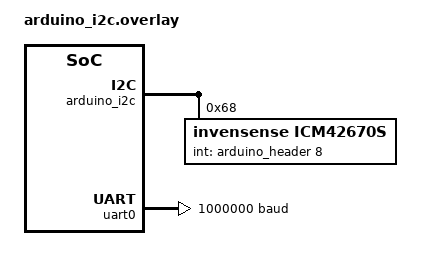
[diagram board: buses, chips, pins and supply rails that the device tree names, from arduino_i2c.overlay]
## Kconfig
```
# Copyright (c) 2020, TDK Invensense
# SPDX-License-Identifier: Apache-2.0

# Enable AML features support and choose the outputs :
# ICM42670S_AML_POINTING, Delta values for pointing 
# ICM42670S_AML_GESTURES, Orientation of the remote and detected swipes 
# ICM42670S_AML_GYR_OFFSET, Computed 3-axis raw gyroscope offsets
# ICM42670S_AML_QUATERNION, Computed W, X, Y and Z quaternion coefficients

config ICM42670S_AML
	default y

config ICM42670S_AML_POINTING
	default y
config ICM42670S_AML_GESTURES
	default n
config ICM42670S_AML_GYR_OFFSET
	default n
config ICM42670S_AML_QUATERNION
	default n

source "Kconfig.zephyr"
```

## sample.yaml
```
sample:
  name: ICM42670S Sensor AML pointing sample
tests:
  sample.sensor.icm42670S:
    build_only: true
    tags: sensors
    integration_platforms:
      - nrf52dk_nrf52832
```

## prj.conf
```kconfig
#
# Copyright (c) 2019 TDK Invensense
#
# SPDX-License-Identifier: Apache-2.0
#

CONFIG_SENSOR=y

CONFIG_LOG=y
CONFIG_LOG_PRINTK=y
CONFIG_SENSOR_LOG_LEVEL_DBG=n

# Enable FPU to link with AML library
CONFIG_FPU=y

# Floating point format support
# Selecting this increases stack size requirements slightly, but increases code size significantly.
CONFIG_CBPRINTF_FP_SUPPORT=y

# Buffer size for console. The defaults are optimized to save RAM
CONFIG_CONSOLE_SUBSYS=y
CONFIG_CONSOLE_GETCHAR=y
CONFIG_CONSOLE_GETCHAR_BUFSIZE=16
CONFIG_CONSOLE_PUTCHAR_BUFSIZE=512

# Enable AML features support
CONFIG_ICM42670S_AML=y
# Choose the AML outputs :
# ICM42670S_AML_POINTING, Delta values for pointing 
CONFIG_ICM42670S_AML_POINTING=y
# ICM42670S_AML_GESTURES, Orientation of the remote and detected swipes 
CONFIG_ICM42670S_AML_GESTURES=n
# ICM42670S_AML_GYR_OFFSET, Computed 3-axis raw gyroscope offsets
CONFIG_ICM42670S_AML_GYR_OFFSET=n
# ICM42670S_AML_QUATERNION, Computed W, X, Y and Z quaternion coefficients
CONFIG_ICM42670S_AML_QUATERNION=n
```

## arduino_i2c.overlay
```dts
/*
 * Copyright (c) 2020, TDK Invensense
 *
 * SPDX-License-Identifier: Apache-2.0
 */

/*
 * Example configuration of a ICM42670S device on an Arduino I2C bus.
 *
 * Device address 0x68 is assumed. Your device may have a different
 * address; check your device documentation if unsure.
 */
&arduino_i2c {
	status = "okay";
	icm42670S@68 {
		compatible = "invensense,icm42670S";
		reg = <0x68>;
		int-gpios = <&arduino_header 8 GPIO_ACTIVE_HIGH>; /* D2 */
		
		power-mode = "low noise";
		accel-hz = <100>;
		accel-fs = <16>;
		gyro-hz = <100>;
		gyro-fs = <2000>;
	};
};

/*
 * Increase native UART speed to report all IMU data at 100Hz.
 */
&uart0 {
	compatible = "nordic,nrf-uarte";
	status = "okay";
	current-speed = <1000000>;
};
```

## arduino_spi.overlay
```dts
/*
 * Copyright (c) 2020, TDK Invensense
 *
 * SPDX-License-Identifier: Apache-2.0
 */

/* Example configuration of a ICM42670S device on an Arduino SPI bus. */
&arduino_spi {
	status = "okay";
	cs-gpios = <&arduino_header 14 GPIO_ACTIVE_LOW>; /* D8 */
	icm42670S@0 {
		compatible = "invensense,icm42670S";
		reg = <0>;
		spi-max-frequency = <1000000>; /* conservatively set to 1MHz */
		int-gpios = <&arduino_header 8 GPIO_ACTIVE_HIGH>; /* D2 */
	};
};

/*
 * Increase native UART speed to report all IMU data at 100Hz.
 */
&uart0 {
	compatible = "nordic,nrf-uarte";
	status = "okay";
	current-speed = <1000000>;
};
```

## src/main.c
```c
/*
 * Copyright (c) 2020 TDK Invensense
 *
 * SPDX-License-Identifier: Apache-2.0
 */

#include <zephyr/kernel.h>
#include <zephyr/device.h>
#include <zephyr/devicetree.h>
#include <zephyr/drivers/sensor.h>
#include <zephyr/drivers/sensor/icm42670S.h>
#include <stdio.h>

static struct sensor_trigger data_trigger;

/* Flag set from IMU device irq handler */
static volatile int irq_from_device = 0;

/*
 * Get a device structure from a devicetree node with compatible
 * "invensense,icm42670S". (If there are multiple, just pick one.)
 */
static const struct device *get_icm42670S_device(void)
{
	const struct device *const dev = DEVICE_DT_GET_ANY(invensense_icm42670s);

	if (dev == NULL) {
		/* No such node, or the node does not have status "okay". */
		printk("\nError: no device found.\n");
		return NULL;
	}

	if (!device_is_ready(dev)) {
		printk("\nError: Device \"%s\" is not ready; "
		       "check the driver initialization logs for errors.\n",
		       dev->name);
		return NULL;
	}

	printk("Found device \"%s\", getting sensor data\n", dev->name);
	return dev;
}

#if defined(CONFIG_ICM42670S_AML_POINTING) || defined(CONFIG_ICM42670S_AML_GESTURES) ||            \
	defined(CONFIG_ICM42670S_AML_GYR_OFFSET) || defined(CONFIG_ICM42670S_AML_QUATERNION)
static const char *now_str(void)
{
	static char buf[16]; /* ...HH:MM:SS.MMM */
	uint32_t now = k_uptime_get_32();
	unsigned int ms = now % MSEC_PER_SEC;
	unsigned int s;
	unsigned int min;
	unsigned int h;

	now /= MSEC_PER_SEC;
	s = now % 60U;
	now /= 60U;
	min = now % 60U;
	now /= 60U;
	h = now;

	snprintf(buf, sizeof(buf), "%u:%02u:%02u.%03u", h, min, s, ms);
	return buf;
}
#endif

static void handle_icm42670S_drdy(const struct device *dev, const struct sensor_trigger *trig)
{
	if (trig->type == SENSOR_TRIG_DATA_READY) {
		int rc = sensor_sample_fetch_chan(dev, trig->chan);

		if (rc < 0) {
			printf("sample fetch failed: %d\n", rc);
			printf("cancelling trigger due to failure: %d\n", rc);
			(void)sensor_trigger_set(dev, trig, NULL);
			return;
		} else if (rc == 0) {
			irq_from_device = 1;
		}
	}
}

int main(void)
{
	const struct device *dev = get_icm42670S_device();
	struct sensor_value aml_config[2];

	if (dev == NULL) {
		return 0;
	}

	aml_config[0].val1 = 15; /* Delta Gain X */
	aml_config[1].val1 = 15; /* Delta Gain Y */
	sensor_attr_set(dev, SENSOR_CHAN_AML, SENSOR_ATTR_CONFIGURATION, aml_config);

	data_trigger = (struct sensor_trigger){
		.type = SENSOR_TRIG_DATA_READY,
		.chan = SENSOR_CHAN_AML,
	};
	if (sensor_trigger_set(dev, &data_trigger, handle_icm42670S_drdy) < 0) {
		printf("Cannot configure data trigger!!!\n");
		return 0;
	}

	k_sleep(K_MSEC(1000));

	while (1) {

		if (irq_from_device) {
#ifdef CONFIG_ICM42670S_AML_POINTING
			struct sensor_value pointing_data[2];
			sensor_channel_get(dev, SENSOR_CHAN_AML_OUTPUT_DELTA_POINTING,
					   pointing_data);

			printf("[%s]: AML Pointing Delta=[%d, %d]\n", now_str(),
			       pointing_data[0].val1, pointing_data[1].val1);
#endif
#ifdef CONFIG_ICM42670S_AML_GESTURES
			struct sensor_value aml_data[3];
			static uint8_t previous_position = 0, previous_status = 0;
			sensor_channel_get(dev, SENSOR_CHAN_AML_OUTPUT_GESTURES, aml_data);

			if (aml_data[0].val1 & ICM42670S_AML_SWIPE_LEFT) {
				printf("[%s]: AML Gestures: Swipe Left \n", now_str());
			}
			if (aml_data[0].val1 & ICM42670S_AML_SWIPE_RIGTH) {
				printf("[%s]: AML Gestures: Swipe Rigth \n", now_str());
			}
			if (aml_data[0].val1 & ICM42670S_AML_SWIPE_UP) {
				printf("[%s]: AML Gestures: Swipe Up \n", now_str());
			}
			if (aml_data[0].val1 & ICM42670S_AML_SWIPE_DOWN) {
				printf("[%s]: AML Gestures: Swipe Down \n", now_str());
			}
			if (aml_data[0].val1 & ICM42670S_AML_SWIPE_CLOCKWISE) {
				printf("[%s]: AML Gestures: Swipe Clockwise \n", now_str());
			}
			if (aml_data[0].val1 & ICM42670S_AML_SWIPE_COUNTERCLOCKWISE) {
				printf("[%s]: AML Gestures: Swipe Counter Clockwise \n", now_str());
			}

			if (aml_data[1].val1 != previous_position) {
				printf("[%s]: AML Remote position: %s \n", now_str(),
				       aml_data[1].val1 == ICM42670S_AML_TOP      ? "Top"
				       : aml_data[1].val1 == ICM42670S_AML_BOTTOM ? "Bottom"
				       : aml_data[1].val1 == ICM42670S_AML_LEFT   ? "Left"
				       : aml_data[1].val1 == ICM42670S_AML_RIGHT  ? "Right"
				       : aml_data[1].val1 == ICM42670S_AML_FRONT  ? "Front"
				       : aml_data[1].val1 == ICM42670S_AML_REAR   ? "Rear"
										  : "Unknown");
				previous_position = aml_data[1].val1;
			}

			if (aml_data[2].val1 != previous_status) {
				printf("[%s]: AML Remote status: %s \n", now_str(),
				       aml_data[2].val1 == 1 ? "Static" : "Non-static");
				previous_status = aml_data[2].val1;
			}
#endif
#ifdef CONFIG_ICM42670S_AML_GYR_OFFSET
			struct sensor_value gyr_offset[3];
			static struct sensor_value previous_gyr_offset[3];
			sensor_channel_get(dev, SENSOR_CHAN_AML_OUTPUT_GYRO_CALIBRATTION,
					   gyr_offset);

			if (memcmp(gyr_offset, previous_gyr_offset, sizeof(struct sensor_value)) !=
			    0) {
				printf("[%s]: AML Gyro biases: %f %f %f rad/s\n", now_str(),
				       sensor_value_to_double(&gyr_offset[0]),
				       sensor_value_to_double(&gyr_offset[1]),
				       sensor_value_to_double(&gyr_offset[2]));
				memcpy(previous_gyr_offset, gyr_offset,
				       sizeof(struct sensor_value));
			}
#endif
#ifdef CONFIG_ICM42670S_AML_QUATERNION
			struct sensor_value quaternion[4];
			sensor_channel_get(dev, SENSOR_CHAN_AML_OUTPUT_QUATERNION, quaternion);

			printf("[%s]:AML Quaternion=[%f %f %f %f]\n", now_str(),
			       sensor_value_to_double(&quaternion[0]),
			       sensor_value_to_double(&quaternion[1]),
			       sensor_value_to_double(&quaternion[2]),
			       sensor_value_to_double(&quaternion[3]));
#endif
			irq_from_device = 0;
		}
	}
	return 0;
}
```
